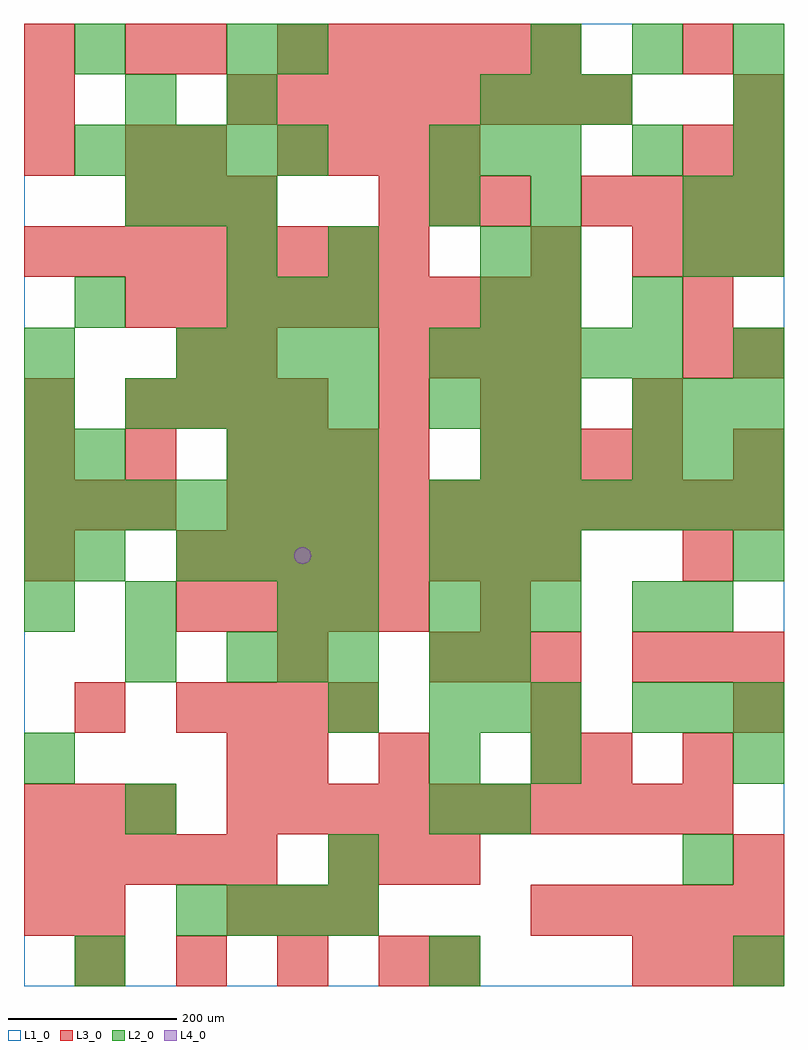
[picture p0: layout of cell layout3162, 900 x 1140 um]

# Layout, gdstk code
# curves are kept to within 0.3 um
import gdstk
lib = gdstk.Library(unit=1e-6, precision=1e-09)
def R(c, l, rs):  # rectangles x0, y0, x1, y1
    for r in rs: c.add(gdstk.rectangle(r[:2], r[2:], *l))
def A(c, l, x, y, w, h, nx, ny, dx, dy):  # array of equal rectangles
    R(c, l, [(x+i*dx, y+j*dy, x+i*dx+w, y+j*dy+h) for i in range(nx) for j in range(ny)])
def P(c, l, *ps):  # polygons
    for p in ps: c.add(gdstk.Polygon(p, *l))
L1_0 = (1, 0)
L2_0 = (2, 0)
L3_0 = (3, 0)
L4_0 = (4, 0)

layout3162 = lib.new_cell('layout3162')
R(layout3162, L1_0, [(0,0,900,1140)])
A(layout3162, L2_0, 840, 0, 60, 60, 1, 4, 0, 240)
A(layout3162, L2_0, 180, 60, 60, 60, 4, 2, 60, 420)
A(layout3162, L2_0, 480, 300, 60, 60, 3, 2, 60, 120)
A(layout3162, L2_0, 720, 300, 60, 60, 3, 2, 60, 300)
A(layout3162, L2_0, 240, 360, 60, 60, 3, 2, 60, 240)
A(layout3162, L2_0, 480, 480, 60, 60, 3, 2, 60, 180)
A(layout3162, L2_0, 0, 540, 60, 60, 7, 1, 60, 0)
A(layout3162, L2_0, 480, 540, 60, 60, 7, 1, 60, 0)
A(layout3162, L2_0, 0, 600, 60, 60, 1, 3, 0, 60)
A(layout3162, L2_0, 120, 660, 60, 60, 5, 1, 60, 0)
A(layout3162, L2_0, 720, 660, 60, 60, 3, 1, 60, 0)
A(layout3162, L2_0, 180, 720, 60, 60, 4, 1, 60, 0)
A(layout3162, L2_0, 480, 720, 60, 60, 5, 1, 60, 0)
A(layout3162, L2_0, 240, 780, 60, 60, 3, 1, 60, 0)
A(layout3162, L2_0, 600, 780, 60, 60, 1, 3, 0, 60)
A(layout3162, L2_0, 840, 840, 60, 60, 1, 4, 0, 60)
A(layout3162, L2_0, 120, 900, 60, 60, 3, 1, 60, 0)
A(layout3162, L2_0, 60, 960, 60, 60, 5, 1, 60, 0)
A(layout3162, L2_0, 480, 960, 60, 60, 3, 1, 60, 0)
A(layout3162, L2_0, 540, 1020, 60, 60, 3, 1, 60, 0)
A(layout3162, L2_0, 600, 1080, 60, 60, 3, 1, 120, 0)
R(layout3162, L2_0, [(60,0,120,60), (480,0,540,60), (360,120,420,180), (780,120,840,180), (120,180,180,240), (480,180,540,240), (540,180,600,240), (0,240,60,300), (480,240,540,300), (600,240,660,300), (360,300,420,360), (120,360,180,420), (480,360,540,420), (540,360,600,420), (0,420,60,480), (120,420,180,480), (300,420,360,480), (360,420,420,480), (720,420,780,480), (780,420,840,480), (0,480,60,540), (60,480,120,540), (60,600,120,660), (540,600,600,660), (600,600,660,660), (60,780,120,840), (540,780,600,840), (720,780,780,840), (240,840,300,900), (360,840,420,900), (540,840,600,900), (780,840,840,900), (480,900,540,960), (780,900,840,960), (720,960,780,1020), (120,1020,180,1080), (240,1020,300,1080), (60,1080,120,1140), (240,1080,300,1140), (300,1080,360,1140)])
A(layout3162, L3_0, 60, 0, 60, 60, 4, 1, 120, 0)
A(layout3162, L3_0, 720, 0, 60, 60, 3, 2, 60, 360)
A(layout3162, L3_0, 240, 60, 60, 60, 3, 1, 60, 0)
A(layout3162, L3_0, 600, 60, 60, 60, 5, 1, 60, 0)
A(layout3162, L3_0, 0, 120, 60, 60, 5, 1, 60, 0)
A(layout3162, L3_0, 360, 120, 60, 60, 3, 1, 60, 0)
A(layout3162, L3_0, 0, 180, 60, 60, 3, 2, 60, 360)
A(layout3162, L3_0, 240, 180, 60, 60, 10, 1, 60, 0)
A(layout3162, L3_0, 780, 240, 60, 60, 1, 3, 0, 240)
A(layout3162, L3_0, 180, 300, 60, 60, 4, 1, 60, 0)
A(layout3162, L3_0, 480, 360, 60, 60, 3, 1, 60, 0)
A(layout3162, L3_0, 180, 420, 60, 60, 5, 1, 60, 0)
A(layout3162, L3_0, 180, 480, 60, 60, 8, 1, 60, 0)
A(layout3162, L3_0, 240, 540, 60, 60, 11, 1, 60, 0)
A(layout3162, L3_0, 0, 600, 60, 60, 3, 1, 120, 0)
A(layout3162, L3_0, 300, 600, 60, 60, 3, 1, 60, 0)
A(layout3162, L3_0, 540, 600, 60, 60, 4, 1, 60, 0)
A(layout3162, L3_0, 120, 660, 60, 60, 4, 1, 60, 0)
A(layout3162, L3_0, 420, 720, 60, 60, 4, 1, 60, 0)
A(layout3162, L3_0, 120, 780, 60, 60, 9, 1, 60, 0)
A(layout3162, L3_0, 0, 840, 60, 60, 8, 1, 60, 0)
A(layout3162, L3_0, 720, 840, 60, 60, 3, 1, 60, 0)
A(layout3162, L3_0, 120, 900, 60, 60, 3, 1, 60, 0)
A(layout3162, L3_0, 420, 900, 60, 60, 3, 1, 60, 0)
A(layout3162, L3_0, 660, 900, 60, 60, 4, 1, 60, 0)
A(layout3162, L3_0, 0, 960, 60, 60, 1, 3, 0, 60)
A(layout3162, L3_0, 300, 960, 60, 60, 4, 1, 60, 0)
A(layout3162, L3_0, 240, 1020, 60, 60, 8, 1, 60, 0)
A(layout3162, L3_0, 300, 1080, 60, 60, 6, 1, 60, 0)
R(layout3162, L3_0, [(480,0,540,60), (0,60,60,120), (60,60,120,120), (840,120,900,180), (240,240,300,300), (300,240,360,300), (420,240,480,300), (600,240,660,300), (660,240,720,300), (60,300,120,360), (600,300,660,360), (840,300,900,360), (300,360,360,420), (540,420,600,480), (0,480,60,540), (840,600,900,660), (0,660,60,720), (420,660,480,720), (540,660,600,720), (600,660,660,720), (720,660,780,720), (180,720,240,780), (240,720,300,780), (840,720,900,780), (780,780,840,840), (600,840,660,900), (120,960,180,1020), (180,960,240,1020), (780,960,840,1020), (840,960,900,1020), (840,1020,900,1080), (120,1080,180,1140), (180,1080,240,1140), (780,1080,840,1140)])
P(layout3162, L4_0, [(340,510),(339.239,513.827),(337.071,517.071),(333.827,519.239),(330,520),(326.173,519.239),(322.929,517.071),(320.761,513.827),(320,510),(320.761,506.173),(322.929,502.929),(326.173,500.761),(330,500),(333.827,500.761),(337.071,502.929),(339.239,506.173)])

lib.write_gds('layout3162.gds')
